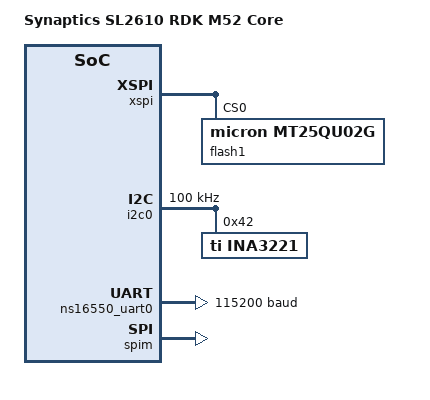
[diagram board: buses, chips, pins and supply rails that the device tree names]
/*
 * Copyright (c) 2026 Synaptics, Inc.
 *
 * SPDX-License-Identifier: Apache-2.0
 */

/dts-v1/;
#include <synaptics/astra_sl/sl261x/sl261x_m52.dtsi>
#include <synaptics/astra_sl/sl261x/sl261x_m52_pinctrl.dtsi>
#include <zephyr/dt-bindings/gpio/gpio.h>

/ {
	model = "Synaptics SL2610 RDK M52 Core";
	compatible = "syna,sl261x-rdk";

	chosen {
		zephyr,console = &ns16550_uart0;
		zephyr,shell-uart = &ns16550_uart0;
		zephyr,sram = &dtcm;
		zephyr,flash = &itcm;
		zephyr,code-partition = &itcm;
		zephyr,arch-cpu = &cpu_m52;
		zephyr,flash-controller = &xspi;
	};

	aliases {
		i2c-0 = &i2c0;
	};
};

&xspi {
	status = "okay";
	pinctrl-0 = <&xspi_data0 &xspi_data1 &xspi_data2 &xspi_data3 &xspi_dqs
		     &xspi_clk &xspi_clk_n &xspi_cs0>;
	pinctrl-names = "default";
	use-direct-mode;

	flash1: mt25qu02g@0 {
		compatible = "micron,mt25qu02g";
		reg = <0>;
		size = <DT_SIZE_M(256*8)>; /* in bits */
		status = "okay";
	};
};

&xspi_data0 {
	drive-strength = <3>;
};

&xspi_data1 {
	drive-strength = <3>;
};

&xspi_data2 {
	drive-strength = <3>;
};

&xspi_data3 {
	drive-strength = <3>;
};

&xspi_dqs {
	drive-strength = <3>;
};

&xspi_clk {
	drive-strength = <3>;
};

&xspi_clk_n {
	drive-strength = <3>;
};

&xspi_cs0 {
	drive-strength = <3>;
};

&i2c0 {
	status = "okay";
	clock-frequency = <I2C_BITRATE_STANDARD>;
	pinctrl-0 = <&i2c0_sda &i2c0_scl>;
	pinctrl-names = "default";

	ina3221@42 {
		compatible = "ti,ina3221";
		reg = <0x42>;
		shunt-resistors = <10000 10000 10000>;
	};
};

&i2c0_sda {
	bias-pull-up;
	drive-strength = <8>;
};

&i2c0_scl {
	bias-pull-up;
	drive-strength = <8>;
};

&ns16550_uart0 {
	pinctrl-0 = <&uart0_rx &uart0_tx>;
	pinctrl-names = "default";
	clock-frequency = <25000000>;
	current-speed = <115200>;
	dlf = <0>;
	status = "okay";
};

&gpio0 {
	status = "okay";
};

&gpio1 {
	status = "okay";
};

&gpio2 {
	status = "okay";
};

&gpio3 {
	status = "okay";
};

&spim {
	status = "okay";
	pinctrl-0 = <&spim_clk &spim_sdi &spim_sdo &spim_cs3>;
	pinctrl-names = "default";
};
